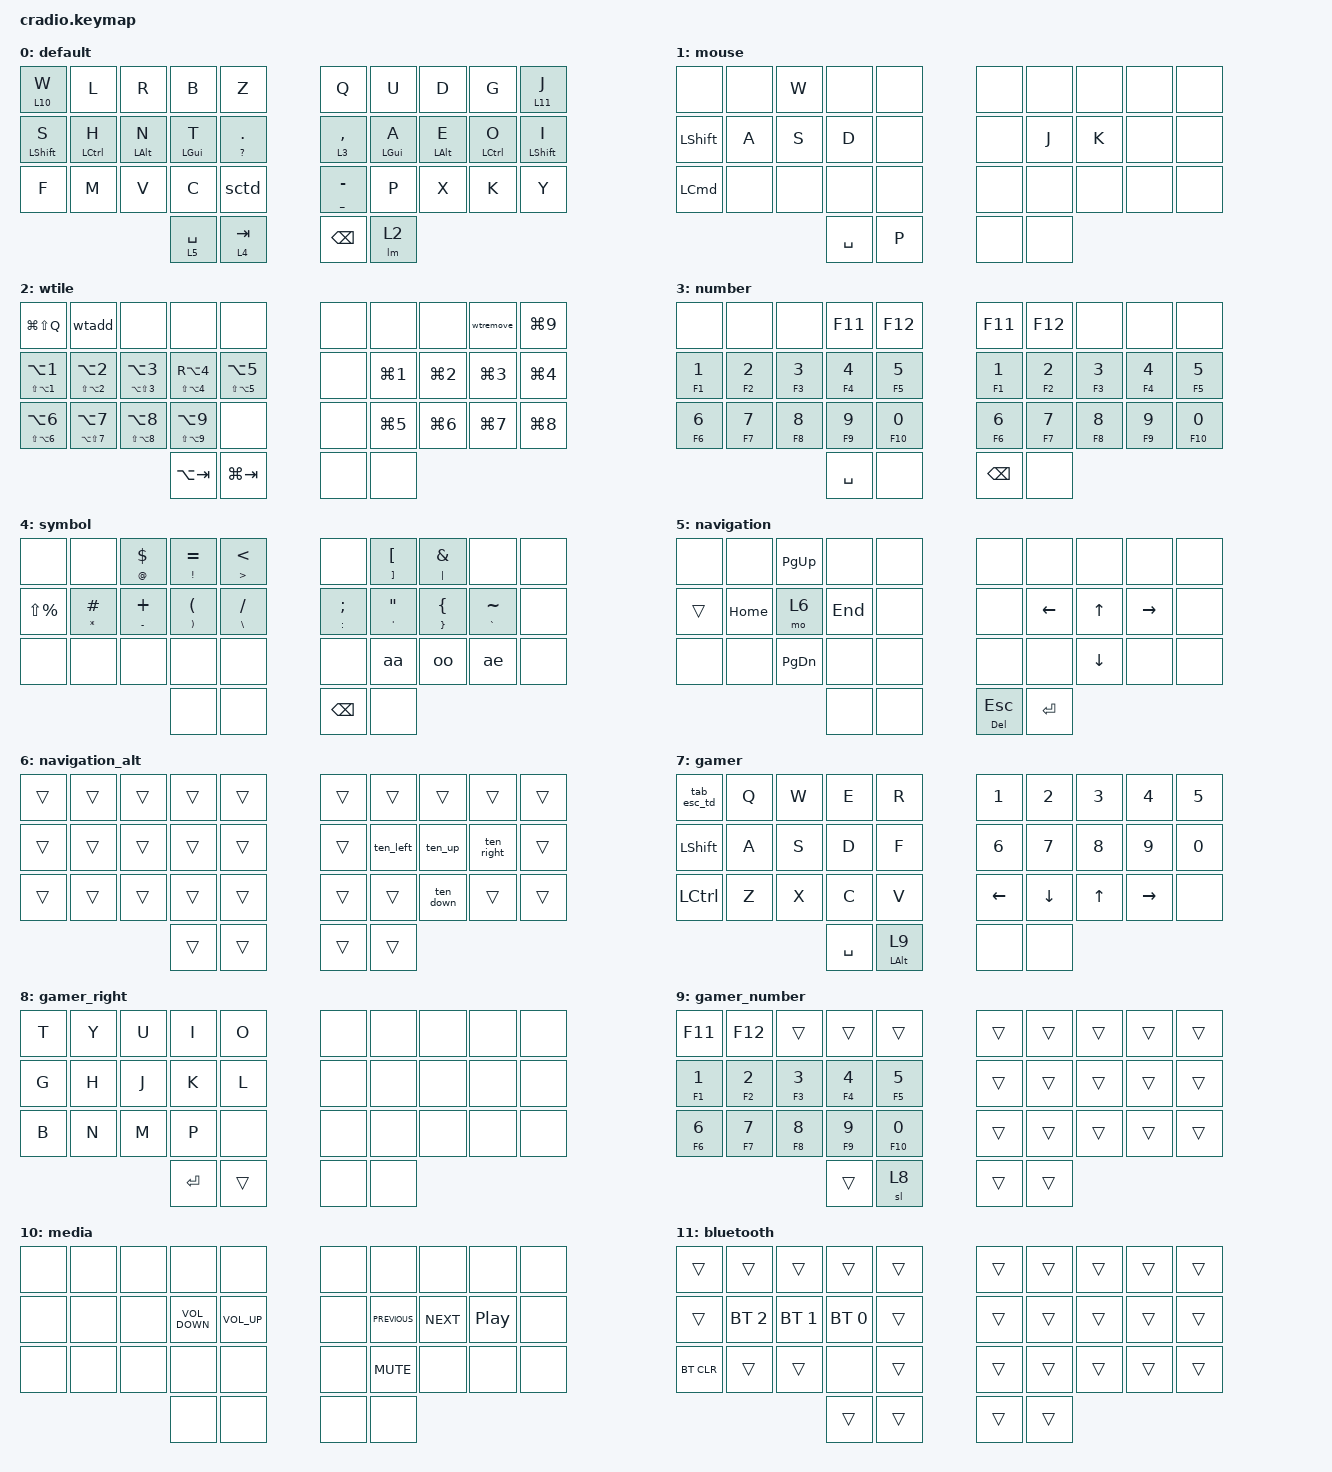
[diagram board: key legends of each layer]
// Copyright (c) 2022 The ZMK Contributors
// SPDX-License-Identifier: MIT

#include "danish_keyboard.dtsi"
#include <behaviors.dtsi>
#include <dt-bindings/zmk/bt.h>
#include <dt-bindings/zmk/keys.h>

#define ___ &trans
#define xxx &none
#define BASE 0
#define NAVIGATION 1
#define NAVIGATION_SECOND 2
#define SYMBOL 3
#define MOUSE 4
#define WTILE 5
#define TRI 6
#define GAMER 7
#define GAMER_RIGHT 8
#define GAMER_NUMBER 9
#define GAMER_ALPHA 10
#define MEDIA 11
#define NUMBER 12
#define ALT_TEXT 13

// Home row mods macro
/*                KEY POSITIONS

  ╭────────────────────╮ ╭────────────────────╮
  │  0   1   2   3   4 │ │  5   6   7   8   9 │
  │ 10  11  12  13  14 │ │ 15  16  17  18  19 │
  │ 20  21  22  23  24 │ │ 25  26  27  28  29 │
  ╰───────────╮ 30  31 │ │ 32  33 ╭───────────╯
              ╰────────╯ ╰────────╯            */

&caps_word { continue-list = <_UNDERSCORE _MINUS BSPC>; };

/ {
    macros {
        lm: lm {
            label = "LAYER_MOD";
            compatible = "zmk,behavior-macro";
            wait-ms = <0>;
            tap-ms = <0>;
            #binding-cells = <0>;
            bindings =
                <&macro_press>,
                <&mo 1>,
                <&macro_press>,
                <&kp F13>,
                <&macro_pause_for_release>,
                <&macro_release>,
                <&kp F13>,
                <&macro_release>,
                <&mo 1>;
        };

        wtquit: wtquit {
            label = "WTILE_QUIT";
            compatible = "zmk,behavior-macro";
            #binding-cells = <0>;
            bindings =
                <&macro_press>,
                <&kp LMETA>,
                <&macro_press>,
                <&kp LSHFT>,
                <&macro_tap>,
                <&kp Q>,
                <&macro_release>,
                <&kp LSHFT>,
                <&macro_release>,
                <&kp LMETA>;
        };

        wtadd: wtadd {
            label = "WTILE_ADD";
            compatible = "zmk,behavior-macro";
            #binding-cells = <0>;
            bindings =
                <&macro_press>,
                <&kp LMETA>,
                <&macro_tap>,
                <&kp W>,
                <&macro_release>,
                <&kp LMETA>;
        };

        wtremove: wtremove {
            label = "WTILE_REMOVE";
            compatible = "zmk,behavior-macro";
            #binding-cells = <0>;
            bindings =
                <&macro_press>,
                <&kp LMETA>,
                <&macro_press>,
                <&kp LSHFT>,
                <&macro_tap>,
                <&kp W>,
                <&macro_release>,
                <&kp LSHFT>,
                <&macro_release>,
                <&kp LMETA>;
        };

        wcw: wcw {
            label = "WTILE_CHANGE_WORKSPACE";
            compatible = "zmk,behavior-macro-one-param";
            #binding-cells = <1>;
            bindings =
                <&macro_press>,
                <&kp LMETA &macro_param_1to1>,
                <&macro_tap>,
                <&kp MACRO_PLACEHOLDER>,
                <&macro_release>,
                <&kp LMETA>;
        };

        wccw: wccw {
            label = "WTILE_CHANGE_WORKSPACE_INDEX";
            compatible = "zmk,behavior-macro-one-param";
            #binding-cells = <1>;
            bindings =
                <&macro_press>,
                <&kp LMETA>,
                <&macro_press>,
                <&kp LSHFT &macro_param_1to1>,
                <&macro_tap>,
                <&kp MACRO_PLACEHOLDER>,
                <&macro_release>,
                <&kp LSHFT>,
                <&macro_release>,
                <&kp LMETA>;
        };

        wcwin: wcwin {
            label = "WTILE_CHANGE_WINDOW";
            compatible = "zmk,behavior-macro-one-param";
            #binding-cells = <1>;
            bindings =
                <&macro_press>,
                <&kp LALT &macro_param_1to1>,
                <&macro_tap>,
                <&kp MACRO_PLACEHOLDER>,
                <&macro_release>,
                <&kp LALT>;
        };

        wccwin: wccwin {
            label = "WTILE_CHANGE_WINDOW_INDEX";
            compatible = "zmk,behavior-macro-one-param";
            #binding-cells = <1>;
            bindings =
                <&macro_press>,
                <&kp LALT>,
                <&macro_press>,
                <&kp LSHFT &macro_param_1to1>,
                <&macro_tap>,
                <&kp MACRO_PLACEHOLDER>,
                <&macro_release>,
                <&kp LSHFT>,
                <&macro_release>,
                <&kp LALT>;
        };

        ten_down: ten_down {
            compatible = "zmk,behavior-macro";
            #binding-cells = <0>;
            bindings =
                <&macro_tap_time 0>,
                <&kp DOWN_ARROW &kp DOWN_ARROW &kp DOWN_ARROW &kp DOWN_ARROW &kp DOWN_ARROW &kp DOWN_ARROW &kp DOWN_ARROW &kp DOWN_ARROW &kp DOWN_ARROW &kp DOWN_ARROW>;

            label = "TEN_DOWN";
        };

        ten_up: ten_up {
            compatible = "zmk,behavior-macro";
            #binding-cells = <0>;
            bindings =
                <&macro_tap_time 0>,
                <&kp UP_ARROW &kp UP_ARROW &kp UP_ARROW &kp UP_ARROW &kp UP_ARROW &kp UP_ARROW &kp UP_ARROW &kp UP_ARROW &kp UP_ARROW &kp UP_ARROW>;

            label = "TEN_UP";
        };

        ten_left: ten_left {
            compatible = "zmk,behavior-macro";
            #binding-cells = <0>;
            bindings =
                <&macro_tap_time 0>,
                <&kp LEFT &kp LEFT &kp LEFT &kp LEFT &kp LEFT &kp LEFT &kp LEFT &kp LEFT &kp LEFT &kp LEFT>;

            label = "TEN_LEFT";
        };

        ten_right: ten_right {
            compatible = "zmk,behavior-macro";
            #binding-cells = <0>;
            bindings =
                <&macro_tap_time 0>,
                <&kp RIGHT &kp RIGHT &kp RIGHT &kp RIGHT &kp RIGHT &kp RIGHT &kp RIGHT &kp RIGHT &kp RIGHT &kp RIGHT>;

            label = "TEN_RIGHT";
        };

        aa: new_macro {
            compatible = "zmk,behavior-macro";
            #binding-cells = <0>;
            bindings = <&macro_tap_time 0>, <&kp COLON &kp A &kp A>;

            label = "NEW_MACRO";
        };

        oo: oo {
            compatible = "zmk,behavior-macro";
            #binding-cells = <0>;
            bindings = <&macro_tap_time 0>, <&none &kp COLON &kp O &kp E>;

            label = "OO";
        };

        ae: ea {
            compatible = "zmk,behavior-macro";
            #binding-cells = <0>;
            bindings = <&macro_tap_time 0>, <&kp COLON &kp A &kp E>;

            label = "EA";
        };
    };

    behaviors {
        ht: hold_tap {
            label = "hold_tap";
            compatible = "zmk,behavior-hold-tap";
            #binding-cells = <2>;
            flavor = "tap-preferred";
            tapping-term-ms = <220>;
            quick-tap-ms = <150>;
            global-quick-tap;
            bindings = <&kp>, <&kp>;
        };

        htw: hold_tab_wtile {
            label = "hold_tap_wtile";
            compatible = "zmk,behavior-hold-tap";
            #binding-cells = <2>;
            flavor = "tap-preferred";
            tapping-term-ms = <1>;
            global-quick-tap;
            retro-tap;
            bindings = <&lm>, <&sl>;
        };

        htwcw: htwcw {
            label = "hold_tap_change_workspace";
            compatible = "zmk,behavior-hold-tap";
            #binding-cells = <2>;
            flavor = "tap-preferred";
            tapping-term-ms = <220>;
            quick-tap-ms = <150>;
            global-quick-tap;
            bindings = <&wccw>, <&wcw>;
        };

        htwcwin: htwcwin {
            label = "hold_tap_change_window";
            compatible = "zmk,behavior-hold-tap";
            #binding-cells = <2>;
            flavor = "tap-preferred";
            tapping-term-ms = <220>;
            quick-tap-ms = <150>;
            global-quick-tap;
            bindings = <&wccwin>, <&wcwin>;
        };

        tabsymtap: tabsymtap {
            label = "tab_sym_tap";
            compatible = "zmk,behavior-hold-tap";
            #binding-cells = <2>;
            flavor = "tap-preferred";
            tapping-term-ms = <1>;
            global-quick-tap;
            retro-tap;
            bindings = <&mo>, <&kp>;
        };

        kp_sl: kp_sl {
            label = "kp_sl";
            compatible = "zmk,behavior-hold-tap";
            #binding-cells = <2>;
            flavor = "tap-preferred";
            tapping-term-ms = <150>;
            global-quick-tap;
            bindings = <&kp>, <&sl>;
        };

        sctd: SHIFT_CAPS_WORD_TAP_DANCE {
            compatible = "zmk,behavior-tap-dance";
            label = "SHIFT_CAPS_WORD_TAP_DANCE";
            #binding-cells = <0>;
            tapping-term-ms = <250>;
            bindings = <&sk LSHIFT>, <&caps_word>;
        };

        togkp: HT_TAP_TOGGLE_LAYER {
            label = "HT_TAP_TOGGLE_LAYER";
            compatible = "zmk,behavior-hold-tap";
            #binding-cells = <2>;
            flavor = "tap-preferred";
            tapping-term-ms = <220>;
            quick-tap-ms = <150>;
            global-quick-tap;
            bindings = <&tog>, <&kp>;
        };

        lt_hold_pref: lt_hold_pref {
            compatible = "zmk,behavior-hold-tap";
            label = "LT_HOLD_PREF";
            bindings = <&mo>, <&kp>;

            #binding-cells = <2>;
            tapping-term-ms = <150>;
        };

        tab_esc_td: tab_esc_td {
            compatible = "zmk,behavior-tap-dance";
            label = "TAB_ESC_TD";
            #binding-cells = <0>;
            bindings = <&kp TAB>, <&kp ESCAPE>;
        };
    };

    conditional_layers { compatible = "zmk,conditional-layers"; };

    combos {
        compatible = "zmk,combos";

        bootloader {
            bindings = <&bootloader>;
            key-positions = <23 22 21 20>;
            layers = <0>;
        };

        toggle_gamer {
            bindings = <&tog 7>;
            key-positions = <16 17 18 19>;
            layers = <0 7>;
        };
    };

    keymap {
        compatible = "zmk,keymap";

        // HALMAK 

        default {
            bindings = <
&lt 10 W          &kp L        &kp R           &kp B           &kp Z                  &kp Q                 &kp U           &kp D       &kp G        &lt 11 J
&ht LEFT_SHIFT S  &ht LCTRL H  &ht LEFT_ALT N  &ht LEFT_GUI T  &ht QUESTION PERIOD    &lt 3 COMMA           &ht LEFT_GUI A  &ht LALT E  &ht LCTRL O  &ht LSHFT I
&kp F             &kp M        &kp V           &kp C           &sctd                  &ht UNDERSCORE MINUS  &kp P           &kp X       &kp K        &kp Y
                                               &lt 5 SPACE     &lt_hold_pref 4 TAB    &kp BSPC              &htw 0 2
            >;
        };

        mouse {
            bindings = <
&none             &none  &kp W  &none      &none    &none  &none  &none  &none  &none
&kp LSHFT         &kp A  &kp S  &kp D      &none    &none  &kp J  &kp K  &none  &none
&kp LEFT_COMMAND  &none  &none  &none      &none    &none  &none  &none  &none  &none
                                &kp SPACE  &kp P    &none  &none
            >;
        };

        wtile {
            bindings = <
&kp LG(LS(Q))                      &wtadd                       &none                        &none                              &none                    &none  &none       &none       &wtremove   &kp LG(N9)
&ht LS(LA(NUMBER_1)) LA(NUMBER_1)  &ht LS(LA(NUMBER_2)) LA(N2)  &ht LA(LS(NUMBER_3)) LA(N3)  &ht LS(LA(NUMBER_4)) RA(NUMBER_4)  &ht LS(LA(N5)) LA(N5)    &none  &kp LG(N1)  &kp LG(N2)  &kp LG(N3)  &kp LG(N4)
&ht LS(LA(NUMBER_6)) LA(NUMBER_6)  &ht LA(LS(N7)) LA(N7)        &ht LS(LA(N8)) LA(N8)        &ht LS(LA(N9)) LA(N9)              &none                    &none  &kp LG(N5)  &kp LG(N6)  &kp LG(N7)  &kp LG(N8)
                                                                                             &kp LA(TAB)                        &kp LG(TAB)              &none  &none
            >;
        };

        number {
            bindings = <
&none      &none      &none      &kp F11    &kp F12       &kp F11    &kp F12    &none      &none      &none
&ht F1 N1  &ht F2 N2  &ht F3 N3  &ht F4 N4  &ht F5 N5     &ht F1 N1  &ht F2 N2  &ht F3 N3  &ht F4 N4  &ht F5 N5
&ht F6 N6  &ht F7 N7  &ht F8 N8  &ht F9 N9  &ht F10 N0    &ht F6 N6  &ht F7 N7  &ht F8 N8  &ht F9 N9  &ht F10 N0
                                 &kp SPACE  &none         &kp BSPC   &none
            >;
        };

        symbol {
            bindings = <
&none            &none              &ht AT_SIGN DOLLAR  &ht EXCLAMATION EQUAL       &ht GREATER_THAN LESS_THAN    &none                &ht RIGHT_BRACKET LEFT_BRACKET  &ht PIPE AMPERSAND          &none            &none
&kp LS(PERCENT)  &ht ASTERISK HASH  &ht MINUS PLUS      &ht RIGHT_PARENTHESIS LPAR  &ht BACKSLASH SLASH           &ht COLON SEMICOLON  &ht SQT DOUBLE_QUOTES           &ht RIGHT_BRACE LEFT_BRACE  &ht GRAVE TILDE  &none
&none            &none              &none               &none                       &none                         &none                &aa                             &oo                         &ae              &none
                                                        &none                       &none                         &kp BSPC             &none
            >;
        };

        navigation {
            bindings = <
&none   &none     &kp PG_UP  &none    &none    &none              &none      &none     &none      &none
&trans  &kp HOME  &mo 6      &kp END  &none    &none              &kp LEFT   &kp UP    &kp RIGHT  &none
&none   &none     &kp PG_DN  &none    &none    &none              &none      &kp DOWN  &none      &none
                             &none    &none    &ht DELETE ESCAPE  &kp ENTER
            >;
        };

        navigation_alt {
            bindings = <
&trans  &trans  &trans  &trans  &trans    &trans  &trans     &trans     &trans      &trans
&trans  &trans  &trans  &trans  &trans    &trans  &ten_left  &ten_up    &ten_right  &trans
&trans  &trans  &trans  &trans  &trans    &trans  &trans     &ten_down  &trans      &trans
                        &trans  &trans    &trans  &trans
            >;
        };

        gamer {
            bindings = <
&tab_esc_td  &kp Q  &kp W  &kp E      &kp R            &kp N1    &kp N2    &kp N3  &kp N4     &kp N5
&kp LSHFT    &kp A  &kp S  &kp D      &kp F            &kp N6    &kp N7    &kp N8  &kp N9     &kp N0
&kp LCTRL    &kp Z  &kp X  &kp C      &kp V            &kp LEFT  &kp DOWN  &kp UP  &kp RIGHT  &none
                           &kp SPACE  &kp_sl LALT 9    &none     &none
            >;
        };

        gamer_right {
            bindings = <
&kp T  &kp Y  &kp U  &kp I      &kp O     &none  &none  &none  &none  &none
&kp G  &kp H  &kp J  &kp K      &kp L     &none  &none  &none  &none  &none
&kp B  &kp N  &kp M  &kp P      &none     &none  &none  &none  &none  &none
                     &kp ENTER  &trans    &none  &none
            >;
        };

        gamer_number {
            bindings = <
&kp F11    &kp F12    &trans     &trans     &trans        &trans  &trans  &trans  &trans  &trans
&ht F1 N1  &ht F2 N2  &ht F3 N3  &ht F4 N4  &ht F5 N5     &trans  &trans  &trans  &trans  &trans
&ht F6 N6  &ht F7 N7  &ht F8 N8  &ht F9 N9  &ht F10 N0    &trans  &trans  &trans  &trans  &trans
                                 &trans     &sl 8         &trans  &trans
            >;
        };

        media {
            bindings = <
&none  &none  &none  &none              &none           &none  &none           &none       &none             &none
&none  &none  &none  &kp C_VOLUME_DOWN  &kp C_VOL_UP    &none  &kp C_PREVIOUS  &kp C_NEXT  &kp C_PLAY_PAUSE  &none
&none  &none  &none  &none              &none           &none  &kp C_MUTE      &none       &none             &none
                     &none              &none           &none  &none
            >;
        };

        bluetooth {
            bindings = <
&trans      &trans        &trans        &trans        &trans    &trans  &trans  &trans  &trans  &trans
&trans      &bt BT_SEL 2  &bt BT_SEL 1  &bt BT_SEL 0  &trans    &trans  &trans  &trans  &trans  &trans
&bt BT_CLR  &trans        &trans        &none         &trans    &trans  &trans  &trans  &trans  &trans
                                        &trans        &trans    &trans  &trans
            >;
        };
    };
};
